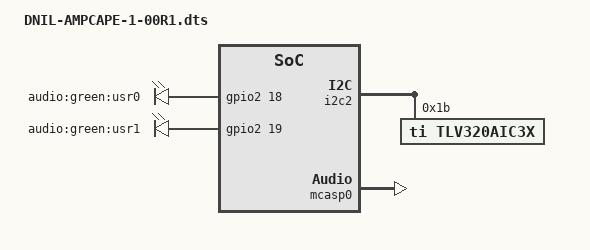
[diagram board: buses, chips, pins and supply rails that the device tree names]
/*
 * Device Tree Overlay for DNIL Electronic Audio Amplifier Cape.
 * Copyright (C) 2013 DNIL Electronic - http://www.dnil.se
 *
 * Work based on Beagle Board Toys Audio Cape;
 * Copyright (C) 2012 Texas Instruments Incorporated - http://www.ti.com/
 *
 * This program is free software; you can redistribute it and/or modify
 * it under the terms of the GNU General Public License version 2 as
 * published by the Free Software Foundation.
 */
/dts-v1/;
/plugin/;

/ {
	compatible = "ti,beaglebone", "ti,beaglebone-black";

	/* identification */
	part-number = "DNIL-AMPCAPE-1";
	version = "00R1";

	/* state the resources this cape uses */
	exclusive-use =
		/* the pin header uses */
		"P9.14",	/* leds:   gpio1_18 */
		"P9.16",	/* leds:   gpio1_19 */
		"P9.31",	/* mcasp0: mcasp0_aclkx */
		"P9.29",	/* mcasp0: mcasp0_fsx */
		"P9.28",	/* mcasp0: mcasp0_axr2 Codec -> SoC */
		"P9.25",	/* mcasp0: mcasp0_axr3 SoC -> Codec */
		/* the hardware ip uses */
		"gpio1_18", "gpio1_19",
		"mcasp0";

	fragment@0 {
		target = <&am33xx_pinmux>;
		__overlay__ {

			dnil_ampcape_led_pins: pinmux_dnil_ampcape_led_pins {
				pinctrl-single,pins = <
					0x48 0x07	/* gpmc_a2.gpio1_18, OUTPUT | MODE7 */
					0x4c 0x07	/* gpmc_a3.gpio1_19, OUTPUT | MODE7 */
				>;
			};

			dnil_ampcape_audio_pins: pinmux_dnil_ampcape_audio_pins {
				pinctrl-single,pins = <
					0x190 0x20	/* mcasp0_aclkx, INPUT  | MODE0 */
					0x194 0x20	/* mcasp0_fsx,   INPUT  | MODE0 */
					0x19c 0x22	/* mcasp0_axr2,  INPUT  | MODE2 */
					0x1ac 0x22	/* mcasp0_axr3,  OUTPUT | MODE2 */

				>;
			};
		};
	};

	fragment@1 {
		target = <&ocp>;
		__overlay__ {

			/* avoid stupid warning */
			#address-cells = <1>;
			#size-cells = <1>;

			gpio-leds-cape-audio {
				compatible = "gpio-leds";
				pinctrl-names = "default";
				pinctrl-0 = <&dnil_ampcape_led_pins>;

				audio-led0 {
					label = "audio:green:usr0";
					gpios = <&gpio2 18 0>;
					linux,default-trigger = "heartbeat";
					default-state = "off";
				};

				audio-led1 {
					label = "audio:green:usr1";
					gpios = <&gpio2 19 0>;
					linux,default-trigger = "mmc0";
					default-state = "off";
				};
			};
		};
	};

	fragment@2 {
		target = <&i2c2>;
		__overlay__ {
			#address-cells = <1>;
			#size-cells = <0>;

			tlv320aic3x: tlv320aic3x@1b {
				compatible = "ti,tlv320aic3x";
				reg = <0x1b>;
				status = "okay";
			};
		};
	};

	fragment@3 {
		target = <&mcasp0>;
		__overlay__ {
			compatible = "ti,omap2-mcasp-audio";
			pinctrl-names = "default";
			pinctrl-0 = <&dnil_ampcape_audio_pins>;

			status = "okay";

			op-mode = <0>;          /* MCASP_IIS_MODE */
			tdm-slots = <2>;
			num-serializer = <16>;
			serial-dir = <
			0 0 2 1	/* 0: INACTIVE, 1: TX, 2: RX */
			0 0 0 0
			0 0 0 0
			0 0 0 0 >;
			tx-num-evt = <1>;
			rx-num-evt = <1>;
		};
	};

	fragment@4 {
		target = <&ocp>;
		__overlay__ {
			sound {
				compatible = "ti,da830-evm-audio";
				ti,model = "DNIL_AMPCAPE";
				ti,audio-codec = <&tlv320aic3x>;
				ti,mcasp-controller = <&mcasp0>;
				ti,codec-clock-rate = <12000000>;
				ti,audio-routing =
					"Line Out",       "LLOUT",
					"Line Out",       "RLOUT",
					"LINE1L",         "Line In",
					"LINE1R",         "Line In";
			};
		};

	};
};
